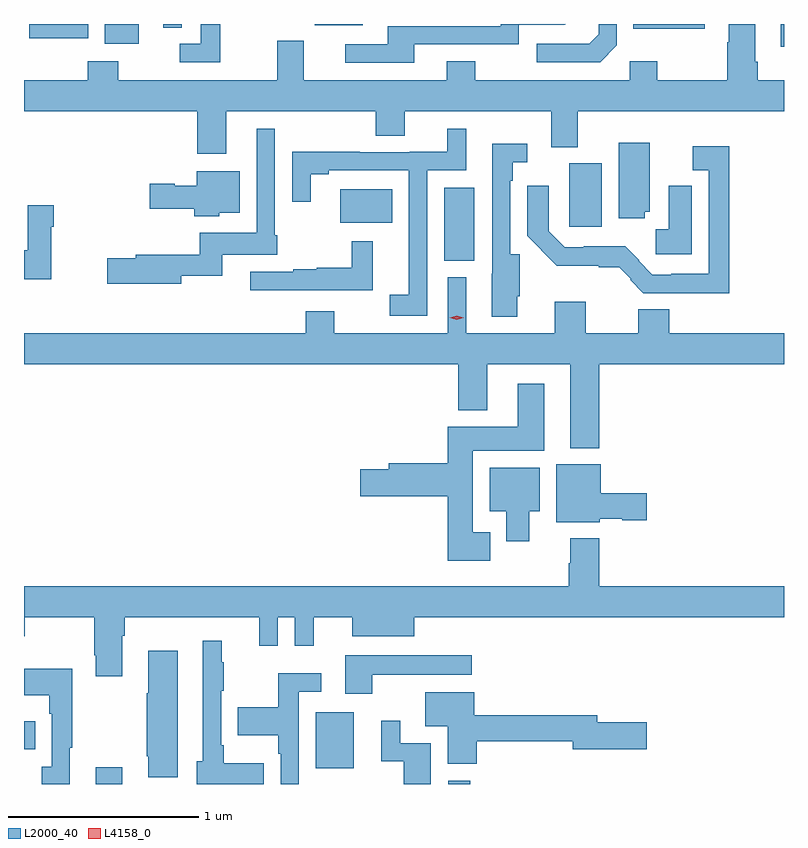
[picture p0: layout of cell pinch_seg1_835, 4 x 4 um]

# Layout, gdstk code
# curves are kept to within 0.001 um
import gdstk
lib = gdstk.Library(unit=1e-6, precision=1e-09)
def R(c, l, rs):  # rectangles x0, y0, x1, y1
    for r in rs: c.add(gdstk.rectangle(r[:2], r[2:], *l))
def P(c, l, *ps):  # polygons
    for p in ps: c.add(gdstk.Polygon(p, *l))
L2000_40 = (2000, 40)
L4158_0 = (4158, 0)

pinch_seg1_835 = lib.new_cell('pinch_seg1_835')
R(pinch_seg1_835, L2000_40, [(460.313,512.227,460.453,512.314), (462.168,512.227,462.284,512.245), (461.471,512.309,461.671,512.605), (459.935,512.41,459.995,512.557), (462.146,514.981,462.304,515.365), (462.806,515.16,462.976,515.494), (461.6,515.18,461.872,515.356), (463.919,516.108,463.935,516.227), (460.361,516.122,460.54,516.227), (459.963,516.151,460.272,516.227), (463.141,516.203,463.519,516.227), (460.668,516.208,460.764,516.227)])
P(pinch_seg1_835, L2000_40, [(462.71,515.579),(462.85,515.579),(462.85,515.768),(463.935,515.768),(463.935,515.932),(463.796,515.932),(463.796,516.028),(463.783,516.028),(463.783,516.227),(463.643,516.227),(463.643,516.131),(463.636,516.131),(463.636,515.932),(463.269,515.932),(463.269,516.031),(463.122,516.031),(463.122,515.932),(462.309,515.932),(462.309,516.031),(462.161,516.031),(462.161,515.932),(461.407,515.932),(461.407,516.14),(461.267,516.14),(461.267,515.932),(460.431,515.932),(460.431,516.031),(460.271,516.031),(460.271,515.932),(459.935,515.932),(459.935,515.768),(460.847,515.768),(460.847,515.544),(460.999,515.544),(460.999,515.768),(461.786,515.768),(461.786,515.638),(461.938,515.638),(461.938,515.768),(462.71,515.768)],
  [(463.056,516.114),(463.056,516.227),(462.96,516.227),(462.96,516.174),(462.909,516.123),(462.633,516.123),(462.633,516.027),(462.969,516.027)],
  [(460.969,516.227),(460.865,516.227),(460.865,516.123),(460.755,516.123),(460.755,516.027),(460.969,516.027)],
  [(461.719,516.227),(461.141,516.227),(461.141,516.225),(461.465,516.225),(461.465,516.221),(461.719,516.221)],
  [(461.989,516.12),(462.54,516.12),(462.54,516.222),(462.78,516.222),(462.785,516.227),(462.444,516.227),(462.444,516.216),(461.849,516.216),(461.849,516.12),(461.625,516.12),(461.625,516.024),(461.989,516.024)],
  [(460.762,514.902),(460.979,514.902),(460.979,515.012),(461.269,515.012),(461.269,515.116),(461.256,515.116),(461.256,515.677),(461.16,515.677),(461.16,515.128),(460.861,515.128),(460.861,515.012),(460.523,515.012),(460.523,514.994),(460.374,514.994),(460.374,514.859),(460.762,514.859)],
  [(462.057,515.457),(462.262,515.457),(462.262,515.677),(462.163,515.677),(462.163,515.555),(461.964,515.555),(461.964,515.553),(461.702,515.553),(461.702,515.555),(461.346,515.555),(461.346,515.292),(461.443,515.292),(461.443,515.437),(461.539,515.437),(461.539,515.457),(461.961,515.457),(461.961,515.084),(461.96,515.084),(461.96,514.801),(461.859,514.801),(461.859,514.692),(462.057,514.692)],
  [(463.201,515.238),(463.228,515.238),(463.228,515.602),(463.064,515.602),(463.064,515.204),(463.201,515.204)],
  [(462.532,514.795),(462.545,514.795),(462.545,515.016),(462.495,515.016),(462.495,515.402),(462.507,515.402),(462.507,515.499),(462.583,515.499),(462.583,515.596),(462.399,515.596),(462.399,514.913),(462.398,514.913),(462.398,514.685),(462.532,514.685)],
  [(463.648,515.584),(463.456,515.584),(463.456,515.456),(463.539,515.456),(463.539,514.912),(463.342,514.912),(463.342,514.908),(463.242,514.908),(463.17,514.98),(463.173,514.983),(463.099,515.057),(462.88,515.057),(462.88,515.052),(462.78,515.052),(462.696,515.136),(462.696,515.377),(462.584,515.377),(462.584,515.112),(462.739,514.955),(462.959,514.955),(462.959,514.947),(463.067,514.947),(463.129,514.885),(463.125,514.881),(463.195,514.811),(463.648,514.811)],
  [(460.962,515.234),(461.071,515.234),(461.071,515.452),(460.844,515.452),(460.844,515.377),(460.728,515.377),(460.728,515.385),(460.596,515.385),(460.596,515.255),(460.832,515.255),(460.832,515.216),(460.962,515.216)],
  [(463.45,515.375),(463.328,515.375),(463.328,515.147),(463.26,515.147),(463.26,515.014),(463.45,515.014)],
  [(460.078,515.159),(460.091,515.159),(460.091,515.272),(459.956,515.272),(459.956,515.036),(459.935,515.036),(459.935,514.883),(460.078,514.883)],
  [(461.771,515.083),(461.661,515.083),(461.661,514.943),(461.476,514.943),(461.476,514.936),(461.353,514.936),(461.353,514.923),(461.127,514.923),(461.127,514.827),(461.771,514.827)],
  [(462.962,514.436),(463.935,514.436),(463.935,514.6),(463.33,514.6),(463.33,514.726),(463.169,514.726),(463.169,514.6),(462.892,514.6),(462.892,514.765),(462.728,514.765),(462.728,514.6),(462.262,514.6),(462.262,514.895),(462.165,514.895),(462.165,514.6),(461.569,514.6),(461.569,514.714),(461.417,514.714),(461.417,514.6),(459.935,514.6),(459.935,514.436),(462.221,514.436),(462.221,514.193),(462.373,514.193),(462.373,514.436),(462.809,514.436),(462.809,513.995),(462.962,513.995)],
  [(462.388,513.553),(462.298,513.553),(462.298,513.98),(462.673,513.98),(462.673,514.333),(462.533,514.333),(462.533,514.108),(462.164,514.108),(462.164,513.914),(461.855,513.914),(461.855,513.884),(461.706,513.884),(461.706,513.742),(462.164,513.742),(462.164,513.401),(462.388,513.401)],
  [(462.966,513.623),(463.083,513.623),(463.083,513.616),(463.213,513.616),(463.213,513.758),(462.97,513.758),(462.97,513.91),(462.737,513.91),(462.737,513.605),(462.966,513.605)],
  [(462.595,513.662),(462.649,513.662),(462.649,513.892),(462.386,513.892),(462.386,513.662),(462.473,513.662),(462.473,513.504),(462.595,513.504)],
  [(460.453,513.008),(460.466,513.008),(460.466,513.104),(461.174,513.104),(461.174,512.955),(461.271,512.955),(461.271,513.104),(461.361,513.104),(461.361,512.955),(461.459,512.955),(461.459,513.104),(461.663,513.104),(461.663,513.005),(461.989,513.005),(461.989,513.104),(463.935,513.104),(463.935,513.268),(462.962,513.268),(462.962,513.52),(462.809,513.52),(462.809,513.389),(462.802,513.389),(462.802,513.268),(459.935,513.268),(459.935,513.005),(459.939,513.005),(459.939,513.104),(460.306,513.104),(460.306,512.905),(460.313,512.905),(460.313,512.793),(460.453,512.793)],
  [(461.197,512.335),(460.987,512.335),(460.987,512.431),(460.974,512.431),(460.974,512.719),(460.987,512.719),(460.987,512.867),(460.976,512.867),(460.976,512.98),(460.877,512.98),(460.877,512.347),(460.844,512.347),(460.844,512.227),(461.197,512.227)],
  [(460.744,512.929),(460.589,512.929),(460.589,512.705),(460.582,512.705),(460.582,512.374),(460.589,512.374),(460.589,512.262),(460.744,512.262)],
  [(461.767,512.801),(462.292,512.801),(462.292,512.905),(461.627,512.905),(461.627,512.703),(461.767,512.703)],
  [(460.177,512.417),(460.189,512.417),(460.189,512.833),(459.935,512.833),(459.935,512.693),(460.068,512.693),(460.068,512.597),(460.08,512.597),(460.08,512.318),(460.029,512.318),(460.029,512.227),(460.177,512.227)],
  [(461.382,512.712),(461.5,512.712),(461.5,512.809),(461.274,512.809),(461.274,512.631),(461.059,512.631),(461.059,512.483),(461.274,512.483),(461.274,512.387),(461.286,512.387),(461.286,512.227),(461.382,512.227)],
  [(462.317,512.452),(462.824,512.452),(462.824,512.41),(463.213,512.41),(463.213,512.552),(462.952,512.552),(462.952,512.588),(462.304,512.588),(462.304,512.71),(462.047,512.71),(462.047,512.531),(462.164,512.531),(462.164,512.334),(462.317,512.334)],
  [(462.076,512.442),(461.914,512.442),(461.914,512.56),(461.816,512.56),(461.816,512.346),(461.933,512.346),(461.933,512.227),(462.076,512.227)])
P(pinch_seg1_835, L4158_0, [(462.213,514.671),(462.177,514.68),(462.177,514.68),(462.177,514.68),(462.213,514.691),(462.249,514.681),(462.249,514.681),(462.249,514.681)])

lib.write_gds('pinch_seg1_835.gds')
